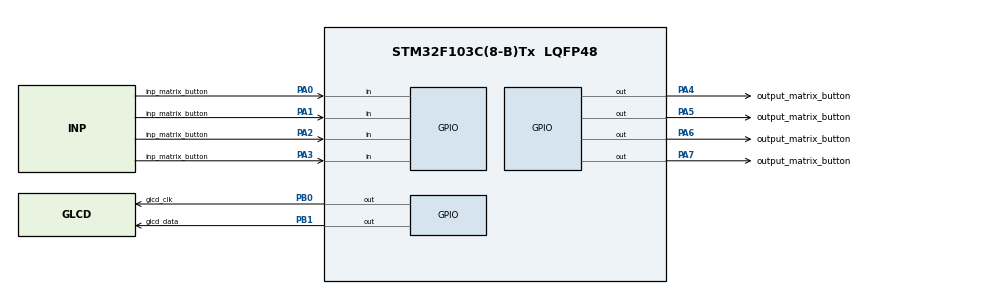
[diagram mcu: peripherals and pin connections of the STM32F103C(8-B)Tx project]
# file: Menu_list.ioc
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Mcu.Family=STM32F1
Mcu.Name=STM32F103C(8-B)Tx
Mcu.Package=LQFP48
NVIC.PriorityGroup=NVIC_PRIORITYGROUP_4
PA0-WKUP.GPIO_Label=inp_matrix_button
PA0-WKUP.GPIO_PuPd=GPIO_PULLUP
PA0-WKUP.Signal=GPIO_Input
PA1.GPIO_Label=inp_matrix_button
PA1.GPIO_PuPd=GPIO_PULLUP
PA1.Signal=GPIO_Input
PA13.Mode=Serial_Wire
PA13.Signal=SYS_JTMS-SWDIO
PA14.Mode=Serial_Wire
PA14.Signal=SYS_JTCK-SWCLK
PA2.GPIO_Label=inp_matrix_button
PA2.GPIO_PuPd=GPIO_PULLUP
PA2.Signal=GPIO_Input
PA3.GPIO_Label=inp_matrix_button
PA3.GPIO_PuPd=GPIO_PULLUP
PA3.Signal=GPIO_Input
PA4.GPIO_Label=output_matrix_button
PA4.Signal=GPIO_Output
PA5.GPIO_Label=output_matrix_button
PA5.Signal=GPIO_Output
PA6.GPIO_Label=output_matrix_button
PA6.Signal=GPIO_Output
PA7.GPIO_Label=output_matrix_button
PA7.Signal=GPIO_Output
PB0.GPIO_Label=glcd_clk
PB0.GPIO_Speed=GPIO_SPEED_FREQ_LOW
PB0.Signal=GPIO_Output
PB1.GPIO_Label=glcd_data
PB1.Signal=GPIO_Output
ProjectManager.HeapSize=0x200
ProjectManager.StackSize=0x400
ProjectManager.TargetToolchain=MDK-ARM V5.27
RCC.APB1Freq_Value=8000000
RCC.APB2Freq_Value=8000000
board=custom

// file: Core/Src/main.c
/* USER CODE BEGIN Header */
/**
  ******************************************************************************
  * @file           : main.c
  * @brief          : Main program body
  ******************************************************************************
  * @attention
  *
  * <h2><center>&copy; Copyright (c) 2021 STMicroelectronics.
  * All rights reserved.</center></h2>
  *
  * This software component is licensed by ST under BSD 3-Clause license,
  * the "License"; You may not use this file except in compliance with the
  * License. You may obtain a copy of the License at:
  *                        opensource.org/licenses/BSD-3-Clause
  *
  ******************************************************************************
  */
/* USER CODE END Header */
#include "main.h"
#include "gpio.h"

/* USER CODE BEGIN Includes */
#include "user_err.h"
#include "GLCD.h"
#include "Menu_list.h"
#include "matrix_button.h"
#include "stm32f1xx_it.h"
/* USER CODE END Includes */

/* USER CODE BEGIN PV */
extern const unsigned char image[1024u];
volatile uint8_t g_button = 0u;
volatile uint8_t selection= 1u;
/* USER CODE END PV */

void SystemClock_Config(void);
/* USER CODE BEGIN PFP */
static void check_matrix_button(void);
static user_func_status_t handler_menu_list( menu_handler_t *menu );
/* USER CODE END PFP */

int main(void)
{
  /* USER CODE BEGIN 1 */
	set_matrix_button_callback(check_matrix_button);
  /* USER CODE END 1 */

  /* MCU Configuration--------------------------------------------------------*/

  /* Reset of all peripherals, Initializes the Flash interface and the Systick. */
  HAL_Init();

  /* Configure the system clock */
  SystemClock_Config();

  /* Initialize all configured peripherals */
  MX_GPIO_Init();
  /* USER CODE BEGIN 2 */
	glcd_init();
	glcd_entry_graphic_mode();
	glcd_print_image(image);
	HAL_Delay(1000u);
	glcd_clear_graphic();
	/* Menu init */
	menu_handler_t menu= {FIRST_SUBTITLE, NONE_EVENT};
	display_main_list(&menu);

  /* USER CODE END 2 */

  /* Infinite loop */
  while (1)
  {

    /* USER CODE BEGIN 3 */
		handler_menu_list(&menu);
		HAL_Delay(100u);
  }
  /* USER CODE END 3 */
}

void SystemClock_Config(void)
{
  RCC_OscInitTypeDef RCC_OscInitStruct = {0};
  RCC_ClkInitTypeDef RCC_ClkInitStruct = {0};

  /** Initializes the RCC Oscillators according to the specified parameters
  * in the RCC_OscInitTypeDef structure.
  */
  RCC_OscInitStruct.OscillatorType = RCC_OSCILLATORTYPE_HSI;
  RCC_OscInitStruct.HSIState = RCC_HSI_ON;
  RCC_OscInitStruct.HSICalibrationValue = RCC_HSICALIBRATION_DEFAULT;
  RCC_OscInitStruct.PLL.PLLState = RCC_PLL_NONE;
  if (HAL_RCC_OscConfig(&RCC_OscInitStruct) != HAL_OK)
  {
    Error_Handler();
  }
  /** Initializes the CPU, AHB and APB buses clocks
  */
  RCC_ClkInitStruct.ClockType = RCC_CLOCKTYPE_HCLK|RCC_CLOCKTYPE_SYSCLK
                              |RCC_CLOCKTYPE_PCLK1|RCC_CLOCKTYPE_PCLK2;
  RCC_ClkInitStruct.SYSCLKSource = RCC_SYSCLKSOURCE_HSI;
  RCC_ClkInitStruct.AHBCLKDivider = RCC_SYSCLK_DIV1;
  RCC_ClkInitStruct.APB1CLKDivider = RCC_HCLK_DIV1;
  RCC_ClkInitStruct.APB2CLKDivider = RCC_HCLK_DIV1;

  if (HAL_RCC_ClockConfig(&RCC_ClkInitStruct, FLASH_LATENCY_0) != HAL_OK)
  {
    Error_Handler();
  }
}

/* USER CODE BEGIN 4 */
static void check_matrix_button(void){
	g_button = buttonMatrix_scan_v2();

}

static user_func_status_t handler_menu_list( menu_handler_t *menu ){
			if( g_button != NOT_BUTTON){
			switch( g_button ){
				case DOWN_BUTTON:
					menu->selection += STEP_SUBTITLE;
					if(menu->selection >= (LAST_SUBTITLE+1u))
						menu->selection = FIRST_SUBTITLE;
					break;

				case UP_BUTTON:
					menu->selection -= STEP_SUBTITLE;
					if( (menu->selection == (FIRST_SUBTITLE-1u)) || (menu->selection >= (LAST_SUBTITLE+1u)) )
						menu->selection = LAST_SUBTITLE;
					break;

				case LEFT_BUTTON:
					menu->event = UNDO_EVENT;
					break;

				case RIGHT_BUTTON:
					menu->event = NEXT_EVENT;
					break;

				case OKE_BUTTON:
					menu->event = CONFIRM_EVENT;

				default:
					break;
			}
			display_main_list(menu);
			menu->event = NONE_EVENT;
		}

	return oke;
}

/* USER CODE END 4 */

void Error_Handler(void)
{
  __disable_irq();
  while (1)
  {
  }
}

/************************ (C) COPYRIGHT STMicroelectronics *****END OF FILE****/
